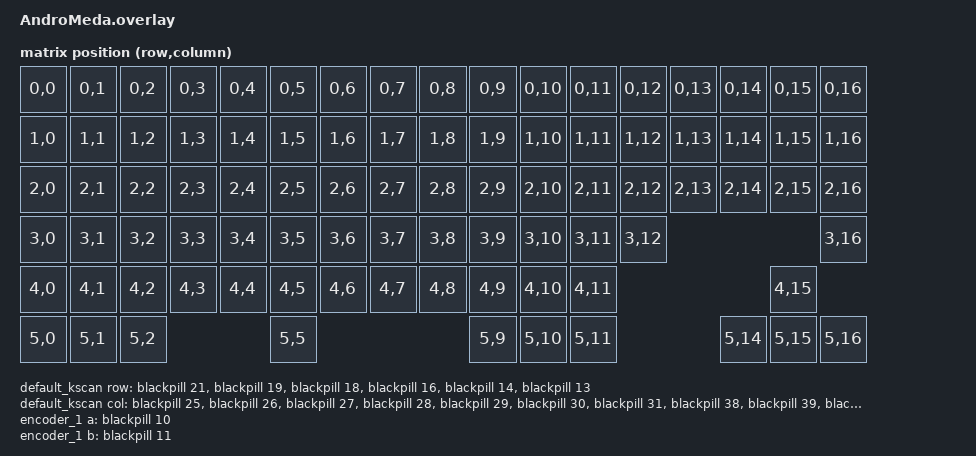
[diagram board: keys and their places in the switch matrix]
#include <dt-bindings/zmk/matrix_transform.h>

/ {
    chosen {
        zmk,kscan = &default_kscan;
        zmk,matrix_transform = &default_transform;
        //zephyr,display = &nice_view;
    };

    default_kscan: kscan {
        compatible = "zmk,kscan-gpio-matrix";
        label = "default_kscan";
        diode-direction = "col2row";

        row-gpios =  <&blackpill 21 (GPIO_ACTIVE_HIGH | GPIO_PULL_DOWN)>,
                     <&blackpill 19 (GPIO_ACTIVE_HIGH | GPIO_PULL_DOWN)>,
                     <&blackpill 18 (GPIO_ACTIVE_HIGH | GPIO_PULL_DOWN)>,
                     <&blackpill 16 (GPIO_ACTIVE_HIGH | GPIO_PULL_DOWN)>,
                     <&blackpill 14 (GPIO_ACTIVE_HIGH | GPIO_PULL_DOWN)>,
                     <&blackpill 13 (GPIO_ACTIVE_HIGH | GPIO_PULL_DOWN)>;
                     

        col-gpios = <&blackpill 25 GPIO_ACTIVE_HIGH>,
                    <&blackpill 26 GPIO_ACTIVE_HIGH>,
                    <&blackpill 27 GPIO_ACTIVE_HIGH>,
                    <&blackpill 28 GPIO_ACTIVE_HIGH>,
                    <&blackpill 29 GPIO_ACTIVE_HIGH>,
                    <&blackpill 30 GPIO_ACTIVE_HIGH>,
                    <&blackpill 31 GPIO_ACTIVE_HIGH>,
                    <&blackpill 38 GPIO_ACTIVE_HIGH>,
                    <&blackpill 39 GPIO_ACTIVE_HIGH>,
                    <&blackpill 40 GPIO_ACTIVE_HIGH>,
                    <&blackpill 41 GPIO_ACTIVE_HIGH>,
                    <&blackpill 42 GPIO_ACTIVE_HIGH>,
                    <&blackpill 43 GPIO_ACTIVE_HIGH>,
                    <&blackpill 45 GPIO_ACTIVE_HIGH>,
                    <&blackpill 46 GPIO_ACTIVE_HIGH>,
                    <&blackpill 3 GPIO_ACTIVE_HIGH>,
                    <&blackpill 4 GPIO_ACTIVE_HIGH>;

    };

    default_transform: matrix_transform {
        compatible = "zmk,matrix-transform";
        rows = <6>;
        columns = <17>;

        map = <
            
            RC(0,0) RC(0,1) RC(0,2) RC(0,3) RC(0,4) RC(0,5) RC(0,6) RC(0,7) RC(0,8) RC(0,9) RC(0,10) RC(0,11) RC(0,12) RC(0,13)     RC(0,14) RC(0,15) RC(0,16) /* Row 0: Escape, Function keys, and Print Screen cluster */
            
            RC(1,0) RC(1,1) RC(1,2) RC(1,3) RC(1,4) RC(1,5) RC(1,6) RC(1,7) RC(1,8) RC(1,9) RC(1,10) RC(1,11) RC(1,12) RC(1,13)     RC(1,14) RC(1,15) RC(1,16) /* Row 1: Numeric keys and Backspace */
            RC(2,0) RC(2,1) RC(2,2) RC(2,3) RC(2,4) RC(2,5) RC(2,6) RC(2,7) RC(2,8) RC(2,9) RC(2,10) RC(2,11) RC(2,12) RC(2,13)     RC(2,14) RC(2,15) RC(2,16) /* Row 2: Tab and QWERTY row */
            RC(3,0) RC(3,1) RC(3,2) RC(3,3) RC(3,4) RC(3,5) RC(3,6) RC(3,7) RC(3,8) RC(3,9) RC(3,10) RC(3,11) RC(3,12)                                RC(3,16) /* Row 3: Caps Lock and ASDF row */
            RC(4,0) RC(4,1) RC(4,2) RC(4,3) RC(4,4) RC(4,5) RC(4,6) RC(4,7) RC(4,8) RC(4,9) RC(4,10) RC(4,11)                                 RC(4,15)         /* Row 4: Shift and ZXCV row */
            RC(5,0) RC(5,1) RC(5,2)                 RC(5,5)                         RC(5,9) RC(5,10) RC(5,11)                       RC(5,14) RC(5,15) RC(5,16) /* Row 5: Ctrl, Alt, Space, and Arrow keys */
        >;

    };
        
    sensors: sensors {
        compatible = "zmk,keymap-sensors";
        sensors = <&encoder_1>;
        triggers-per-rotation = <20>;
    };

    encoder_1: encoder {
        compatible = "alps,ec11";
        a-gpios = <&blackpill 10 (GPIO_ACTIVE_HIGH | GPIO_PULL_UP)>;
        b-gpios = <&blackpill 11 (GPIO_ACTIVE_HIGH | GPIO_PULL_UP)>;
        steps = <80>;
        status = "okay";
    };
    
};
